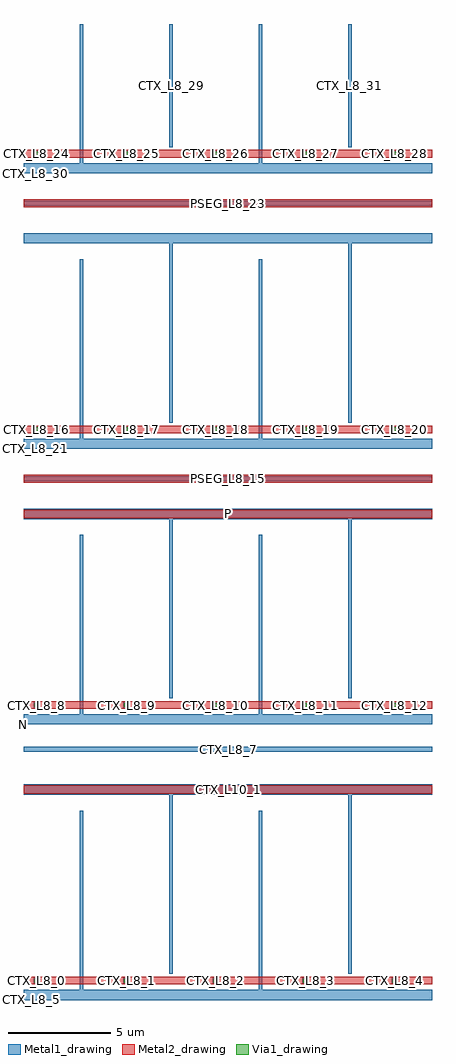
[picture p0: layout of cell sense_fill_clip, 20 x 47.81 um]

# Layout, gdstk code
import gdstk
lib = gdstk.Library(unit=1e-6, precision=1e-09)
def R(c, l, rs):  # rectangles x0, y0, x1, y1
    for r in rs: c.add(gdstk.rectangle(r[:2], r[2:], *l))
def A(c, l, x, y, w, h, nx, ny, dx, dy):  # array of equal rectangles
    R(c, l, [(x+i*dx, y+j*dy, x+i*dx+w, y+j*dy+h) for i in range(nx) for j in range(ny)])
def P(c, l, *ps):  # polygons
    for p in ps: c.add(gdstk.Polygon(p, *l))
Metal1_drawing = (8, 0)
Metal2_drawing = (10, 0)
Via1_drawing = (19, 0)

sense_fill_clip = lib.new_cell('sense_fill_clip')
A(sense_fill_clip, Metal1_drawing, 113.28, 26.02, 0.3, 0.3, 5, 4, 4.38, 13.5)
R(sense_fill_clip, Metal1_drawing, [(112.79,37.37,132.79,37.63), (112.79,50.62,132.79,50.88), (112.79,64.12,132.79,64.38), (119.92,67,120.08,73.03), (128.68,67,128.84,73.03)])
P(sense_fill_clip, Metal1_drawing, [(112.79,25.22),(112.79,25.72),(115.54,25.72),(115.54,34.5),(115.7,34.5),(115.7,25.72),(124.3,25.72),(124.3,34.5),(124.46,34.5),(124.46,25.72),(132.79,25.72),(132.79,25.22)],
  [(119.92,26.5),(119.92,35.28),(112.79,35.28),(112.79,35.78),(132.79,35.78),(132.79,35.28),(128.84,35.28),(128.84,26.5),(128.68,26.5),(128.68,35.28),(120.08,35.28),(120.08,26.5)],
  [(112.79,38.72),(112.79,39.22),(115.54,39.22),(115.54,48),(115.7,48),(115.7,39.22),(124.3,39.22),(124.3,48),(124.46,48),(124.46,39.22),(132.79,39.22),(132.79,38.72)],
  [(119.92,40),(119.92,48.78),(112.79,48.78),(112.79,49.28),(132.79,49.28),(132.79,48.78),(128.84,48.78),(128.84,40),(128.68,40),(128.68,48.78),(120.08,48.78),(120.08,40)],
  [(112.79,52.22),(112.79,52.72),(115.54,52.72),(115.54,61.5),(115.7,61.5),(115.7,52.72),(124.3,52.72),(124.3,61.5),(124.46,61.5),(124.46,52.72),(132.79,52.72),(132.79,52.22)],
  [(119.92,53.5),(119.92,62.28),(112.79,62.28),(112.79,62.78),(132.79,62.78),(132.79,62.28),(128.84,62.28),(128.84,53.5),(128.68,53.5),(128.68,62.28),(120.08,62.28),(120.08,53.5)],
  [(112.79,65.72),(112.79,66.22),(115.54,66.22),(115.54,73.03),(115.7,73.03),(115.7,66.22),(124.3,66.22),(124.3,73.03),(124.46,73.03),(124.46,66.22),(132.79,66.22),(132.79,65.72)])
A(sense_fill_clip, Metal2_drawing, 112.79, 25.98, 20, 0.38, 1, 4, 0, 13.5)
R(sense_fill_clip, Metal2_drawing, [(112.79,35.33,132.79,35.73), (112.79,48.83,132.79,49.23), (112.79,50.55,132.79,50.95), (112.79,64.05,132.79,64.45)])
A(sense_fill_clip, Via1_drawing, 113.335, 26.075, 0.19, 0.19, 5, 4, 4.38, 13.5)
sense_fill_clip.add(gdstk.Label('CTX_L8_0', (113.43,26.17), layer=8, texttype=25))
sense_fill_clip.add(gdstk.Label('CTX_L8_1', (117.81,26.17), layer=8, texttype=25))
sense_fill_clip.add(gdstk.Label('CTX_L8_2', (122.19,26.17), layer=8, texttype=25))
sense_fill_clip.add(gdstk.Label('CTX_L8_3', (126.57,26.17), layer=8, texttype=25))
sense_fill_clip.add(gdstk.Label('CTX_L8_4', (130.95,26.17), layer=8, texttype=25))
sense_fill_clip.add(gdstk.Label('CTX_L8_5', (112.791,25.221), layer=8, texttype=25))
sense_fill_clip.add(gdstk.Label('CTX_L8_6', (119.921,26.501), layer=8, texttype=25))
sense_fill_clip.add(gdstk.Label('CTX_L8_7', (122.79,37.5), layer=8, texttype=25))
sense_fill_clip.add(gdstk.Label('CTX_L8_8', (113.43,39.67), layer=8, texttype=25))
sense_fill_clip.add(gdstk.Label('CTX_L8_9', (117.81,39.67), layer=8, texttype=25))
sense_fill_clip.add(gdstk.Label('CTX_L8_10', (122.19,39.67), layer=8, texttype=25))
sense_fill_clip.add(gdstk.Label('CTX_L8_11', (126.57,39.67), layer=8, texttype=25))
sense_fill_clip.add(gdstk.Label('CTX_L8_12', (130.95,39.67), layer=8, texttype=25))
sense_fill_clip.add(gdstk.Label('N', (112.791,38.721), layer=8, texttype=25))
sense_fill_clip.add(gdstk.Label('PSEG_L8_14', (119.921,40.001), layer=8, texttype=25))
sense_fill_clip.add(gdstk.Label('PSEG_L8_15', (122.79,50.75), layer=8, texttype=25))
sense_fill_clip.add(gdstk.Label('CTX_L8_16', (113.43,53.17), layer=8, texttype=25))
sense_fill_clip.add(gdstk.Label('CTX_L8_17', (117.81,53.17), layer=8, texttype=25))
sense_fill_clip.add(gdstk.Label('CTX_L8_18', (122.19,53.17), layer=8, texttype=25))
sense_fill_clip.add(gdstk.Label('CTX_L8_19', (126.57,53.17), layer=8, texttype=25))
sense_fill_clip.add(gdstk.Label('CTX_L8_20', (130.95,53.17), layer=8, texttype=25))
sense_fill_clip.add(gdstk.Label('CTX_L8_21', (112.791,52.221), layer=8, texttype=25))
sense_fill_clip.add(gdstk.Label('NSEG_L8_22', (119.921,53.501), layer=8, texttype=25))
sense_fill_clip.add(gdstk.Label('PSEG_L8_23', (122.79,64.25), layer=8, texttype=25))
sense_fill_clip.add(gdstk.Label('CTX_L8_24', (113.43,66.67), layer=8, texttype=25))
sense_fill_clip.add(gdstk.Label('CTX_L8_25', (117.81,66.67), layer=8, texttype=25))
sense_fill_clip.add(gdstk.Label('CTX_L8_26', (122.19,66.67), layer=8, texttype=25))
sense_fill_clip.add(gdstk.Label('CTX_L8_27', (126.57,66.67), layer=8, texttype=25))
sense_fill_clip.add(gdstk.Label('CTX_L8_28', (130.95,66.67), layer=8, texttype=25))
sense_fill_clip.add(gdstk.Label('CTX_L8_29', (120,70.015), layer=8, texttype=25))
sense_fill_clip.add(gdstk.Label('CTX_L8_30', (112.791,65.721), layer=8, texttype=25))
sense_fill_clip.add(gdstk.Label('CTX_L8_31', (128.76,70.015), layer=8, texttype=25))
sense_fill_clip.add(gdstk.Label('CTX_L10_0', (122.79,26.17), layer=10, texttype=25))
sense_fill_clip.add(gdstk.Label('CTX_L10_1', (122.79,35.53), layer=10, texttype=25))
sense_fill_clip.add(gdstk.Label('CTX_L10_2', (122.79,39.67), layer=10, texttype=25))
sense_fill_clip.add(gdstk.Label('P', (122.79,49.03), layer=10, texttype=25))
sense_fill_clip.add(gdstk.Label('PSEG_L10_4', (122.79,50.75), layer=10, texttype=25))
sense_fill_clip.add(gdstk.Label('CTX_L10_5', (122.79,53.17), layer=10, texttype=25))
sense_fill_clip.add(gdstk.Label('PSEG_L10_6', (122.79,64.25), layer=10, texttype=25))
sense_fill_clip.add(gdstk.Label('CTX_L10_7', (122.79,66.67), layer=10, texttype=25))

lib.write_gds('sense_fill_clip.gds')
